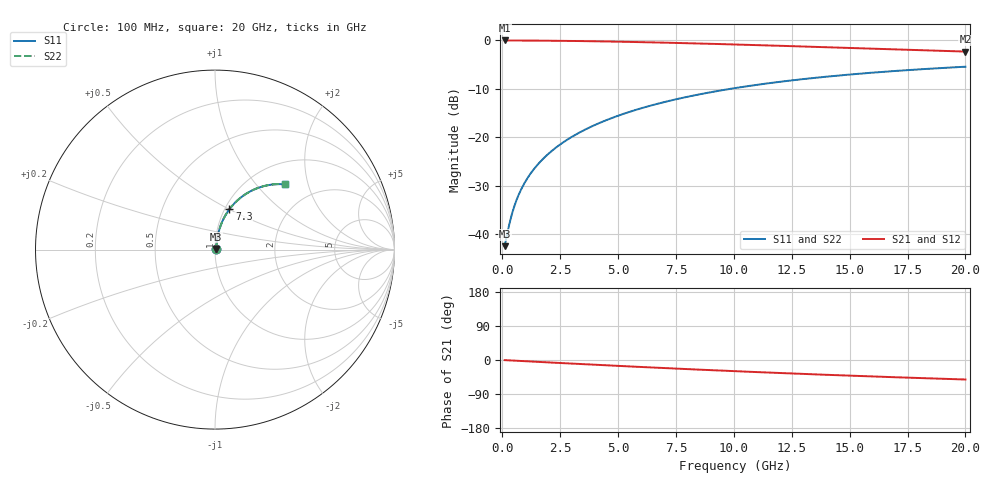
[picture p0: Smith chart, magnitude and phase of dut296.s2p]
! Touchstone file exported from HFSS 2024.1.0
!  File:  C:/UserFiles/LocalFiles/RDL_TSV_Batchsim/temp_RDL_top_296_1778690662.aedt
!  Generated:  12:46:41 AM May 14, 2026
!  Design:  RDL_top
!  Project:  temp_RDL_top_296_1778690662
!  Setup:  Setup1
!  Solution:  Sweep
! Variables:
!  dtsv = 10.80580581um
!  hbump = 3um
!  htsv = 52.03um
!  ldown = 100um
!  lrdl = 681.38um
!  p = 40
!  p1 = 53.34um
!  rhole = 1um
!  t = 450um
!  tdown = 3.915915916um
!  trdl = 2.52um
!  wdown = 15.38538539um
!  wrdl = 14.6um
# GHz S MA R 50.000000
! Terminal data exported
! Port[1] = Box2_T1
! Port[2] = Box2_T2
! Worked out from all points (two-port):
!   200 points, 100 MHz to 20 GHz, reference 50 ohm
!   highest |S21| = -0.06 dB at 100 MHz (marker M1); lowest = -2.4 dB at 20 GHz (marker M2)
!   |S21| within 3 dB of the highest: start of sweep to end of sweep
!   lowest |S11| = -42.5 dB at 100 MHz (marker M3), VSWR 1.02, Z = 50.7 + j0.356 ohm
!   |S11| at or under -10 dB: start of sweep to 9.893 GHz
!   |S22| runs from -42.5 to -5.5 dB; largest |S21 - S12| = 3.7e-15
!   S11 on the Smith chart (normalised r, x): 100 MHz: 1.01, +0.01; 7.3 GHz: 1.05, +0.50; 20 GHz: 1.42, +1.44
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0.1  0.007514 27.9  0.9934 -0.3  0.9934 -0.3  0.007514 27.9
! Gamma 0 0 0 0
! Port Impedance 50 0 50 0
0.3  0.01256 56.4  0.9931 -1.0  0.9931 -1.0  0.01256 56.4
0.4  0.01563 62.7  0.9929 -1.3  0.9929 -1.3  0.01563 62.7
0.5  0.01879 66.7  0.9926 -1.6  0.9926 -1.6  0.01879 66.7
0.6  0.02199 69.4  0.9923 -2.0  0.9923 -2.0  0.02199 69.4
0.7  0.02522 71.4  0.9921 -2.3  0.9921 -2.3  0.02522 71.4
0.9  0.03169 74.1  0.9915 -2.9  0.9915 -2.9  0.03169 74.1
1.2  0.04144 76.4  0.9906 -3.8  0.9906 -3.8  0.04144 76.4
1.4  0.04796 77.3  0.9899 -4.5  0.9899 -4.5  0.04796 77.3
1.7  0.05778 78.1  0.9887 -5.4  0.9887 -5.4  0.05778 78.2
2.2  0.07421 78.7  0.9864 -7.0  0.9864 -7.0  0.07421 78.7
2.8  0.09399 78.5  0.983 -8.8  0.983 -8.8  0.094 78.5
3.5  0.1171 77.8  0.9782 -11.0  0.9782 -11.0  0.1171 77.8
4.2  0.1401 76.7  0.9726 -13.1  0.9726 -13.1  0.1401 76.7
5  0.1663 75.2  0.9652 -15.5  0.9652 -15.5  0.1663 75.3
6.8  0.2239 71.4  0.9455 -20.7  0.9455 -20.7  0.224 71.4
7.3  0.2395 70.3  0.9394 -22.1  0.9394 -22.1  0.2396 70.3
8.6  0.2789 67.3  0.9227 -25.7  0.9227 -25.7  0.279 67.3
10.1  0.322 63.8  0.9022 -29.6  0.9022 -29.6  0.3221 63.8
13.4  0.4065 56.3  0.8547 -37.7  0.8547 -37.7  0.4066 56.3
16.7  0.4763 49.3  0.8074 -44.9  0.8074 -44.9  0.4765 49.4
20  0.5325 43.1  0.7629 -51.5  0.7629 -51.5  0.5326 43.1
